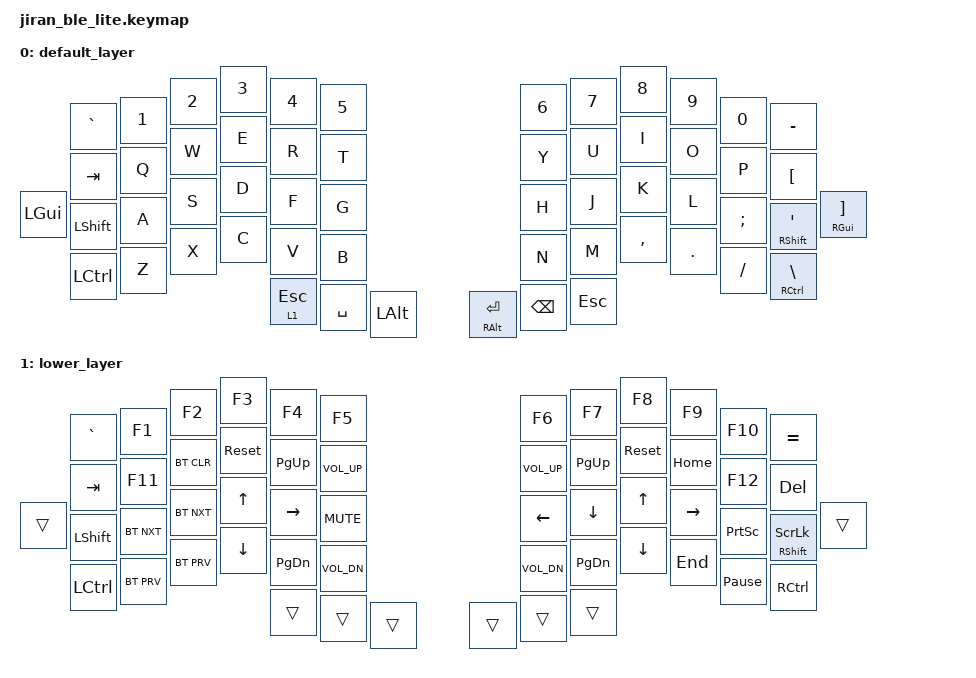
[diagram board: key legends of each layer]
/*
 * Copyright (c) 2021 The ZMK Contributors
 *
 * SPDX-License-Identifier: MIT
 */

#include <behaviors.dtsi>
#include <dt-bindings/zmk/bt.h>
#include <dt-bindings/zmk/keys.h>

/ {
    keymap {
        compatible = "zmk,keymap";

        default_layer {
            bindings = <
          &kp GRAVE  &kp N1  &kp N2  &kp N3     &kp N4     &kp N5          &kp N6        &kp N7    &kp N8     &kp N9   &kp N0    &kp MINUS
&kp LGUI  &kp TAB    &kp Q   &kp W   &kp E      &kp R      &kp T           &kp Y         &kp U     &kp I      &kp O    &kp P     &kp LBKT        &mt RGUI RBKT
          &kp LSHFT  &kp A   &kp S   &kp D      &kp F      &kp G           &kp H         &kp J     &kp K      &kp L    &kp SEMI  &mt RSHFT SQT
          &kp LCTRL  &kp Z   &kp X   &kp C      &kp V      &kp B           &kp N         &kp M     &kp COMMA  &kp DOT  &kp FSLH  &mt RCTRL BSLH
                                     &lt 1 ESC  &kp SPACE  &kp LEFT_ALT    &mt RALT RET  &kp BSPC  &kp ESC
            >;
        };

        lower_layer {
            bindings = <
        &kp GRAVE  &kp F1      &kp F2      &kp F3      &kp F4     &kp F5          &kp F6        &kp F7     &kp F8      &kp F9     &kp F10          &kp EQUAL
&trans  &kp TAB    &kp F11     &bt BT_CLR  &sys_reset  &kp PG_UP  &kp C_VOL_UP    &kp C_VOL_UP  &kp PG_UP  &sys_reset  &kp HOME   &kp F12          &kp DEL         &trans
        &kp LSHFT  &bt BT_NXT  &bt BT_NXT  &kp UP      &kp RIGHT  &kp C_MUTE      &kp LEFT      &kp DOWN   &kp UP      &kp RIGHT  &kp PSCRN        &mt RSHFT SLCK
        &kp LCTRL  &bt BT_PRV  &bt BT_PRV  &kp DOWN    &kp PG_DN  &kp C_VOL_DN    &kp C_VOL_DN  &kp PG_DN  &kp DOWN    &kp END    &kp PAUSE_BREAK  &kp RCTRL
                                           &trans      &trans     &trans          &trans        &trans     &trans
            >;
        };
    };
};
